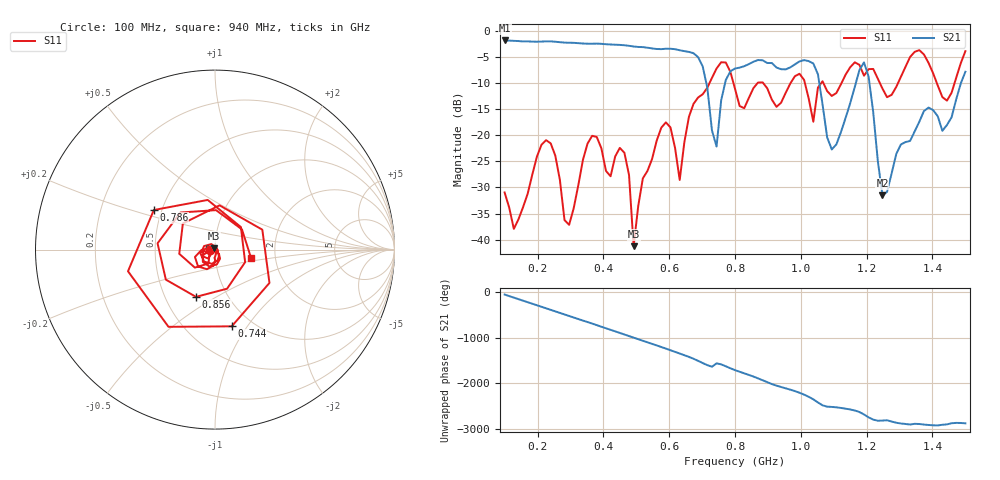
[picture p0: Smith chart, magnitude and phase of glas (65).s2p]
! NanoVNA-App
! Date: 2025-09-25 15:55:59
! Start: 100MHz Stop: 1,5GHz Points: 101
! S-Parameter data: F S11 S21 S12 S22
# Hz S RI R 50
!  Frequency  S11_Real  S11_Imag  S21_Real  S21_Imag  S12_Real  S12_Imag  S22_Real  S22_Imag
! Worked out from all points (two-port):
!   101 points, 100 MHz to 1.5 GHz, reference 50 ohm
!   highest |S21| = -1.80 dB at 100 MHz (marker M1); lowest = -31.5 dB at 1.248 GHz (marker M2)
!   |S21| within 3 dB of the highest: start of sweep to 684.1 MHz
!   lowest |S11| = -41.3 dB at 492 MHz (marker M3), VSWR 1.02, Z = 49.5 + j0.673 ohm
!   |S11| at or under -10 dB: start of sweep to 722.4 MHz; 795.4 MHz to 868.3 MHz (72.93 MHz wide, 8.77 % of centre); 885.9 MHz to 968.6 MHz (82.69 MHz wide, 8.92 % of centre) (the widest 3 of 7)
!   S12 and S22 are empty: the file has one direction only
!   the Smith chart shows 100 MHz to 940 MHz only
!   S11 on the Smith chart (normalised r, x): 100 MHz: 0.95, -0.01; 744 MHz: 0.80, -0.85; 786 MHz: 0.45, +0.24; 856 MHz: 0.71, -0.41; 940 MHz: 1.49, -0.14
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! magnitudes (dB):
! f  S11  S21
! 100 MHz  -31.0  -1.8
! 128 MHz  -37.9  -1.9
! 226 MHz  -20.9  -2.0
! 296 MHz  -37.2  -2.2
! 338 MHz  -24.7  -2.4
! 464 MHz  -23.3  -2.7
! 492 MHz  -41.3  -3.0
! 576 MHz  -18.5  -3.5
! 632 MHz  -28.6  -3.7
! 702 MHz  -12.1  -6.8
! 744 MHz  -7.2  -22.2
! 786 MHz  -7.8  -7.7
! 800 MHz  -11.1  -7.2
! 856 MHz  -10.9  -5.9
! 940 MHz  -13.8  -7.3
! 996 MHz  -8.2  -5.8
! 1.038 GHz  -17.4  -6.2
! 1.094 GHz  -12.4  -22.7
! 1.192 GHz  -8.6  -6.0
! 1.248 GHz  -11.0  -31.5
! 1.276 GHz  -12.2  -27.3
! 1.5 GHz  -3.9  -7.8
